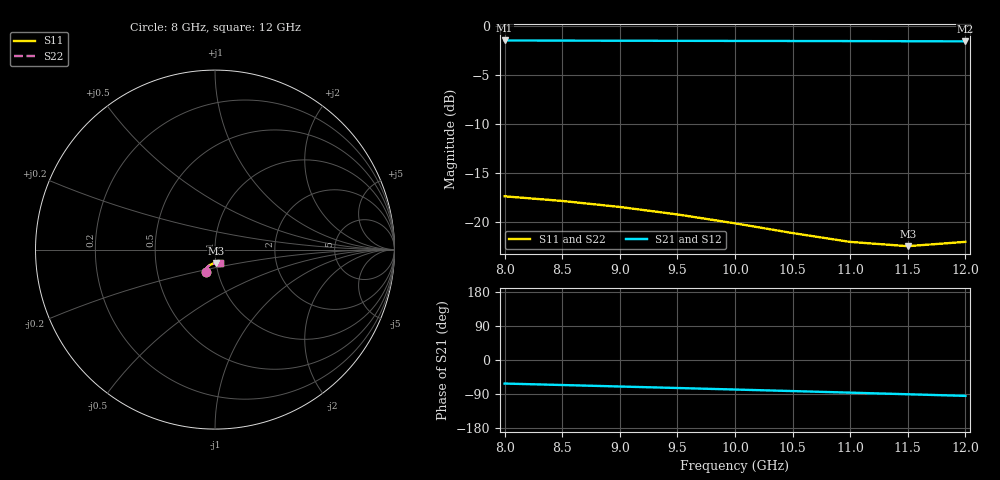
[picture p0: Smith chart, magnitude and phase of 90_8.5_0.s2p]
! Created Fri Oct 23 14:27:03 2020
# hz S ma R 50
! 2 Port Network Data from SP1.SP block
! freq  magS11  angS11  magS21  angS21  magS12  angS12  magS22  angS22
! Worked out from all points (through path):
!   9 points, 8 GHz to 12 GHz, reference 50 ohm
!   highest |S21| = -1.43 dB at 8 GHz (marker M1); lowest = -1.5 dB at 12 GHz (marker M2)
!   lowest |S11| = -22.4 dB at 11.5 GHz (marker M3), VSWR 1.16, Z = 50 - j7.59 ohm
!   |S11| at or under -10 dB: start of sweep to end of sweep
!   |S22| runs from -22.4 to -17.3 dB; largest |S21 - S12| = 0
8e9  0.1359 -111.4  0.8479 -62.1  0.8479 -62.1  0.1359 -111.4
8.5e9  0.1287 -113.4  0.8463 -66.0  0.8463 -66.0  0.1287 -113.4
9e9  0.1199 -114.5  0.8451 -69.9  0.8451 -69.9  0.12 -114.5
9.5e9  0.1098 -114.3  0.8441 -73.9  0.8441 -73.9  0.11 -114.2
1e10  0.09895 -112.1  0.8432 -77.9  0.8432 -77.9  0.09913 -112.1
1.05e10  0.08825 -107.2  0.8424 -82.0  0.8424 -82.0  0.08849 -107.1
1.1e10  0.07954 -98.4  0.8415 -86.2  0.8415 -86.2  0.07983 -98.4
1.15e10  0.07566 -85.6  0.8403 -90.4  0.8403 -90.4  0.07598 -85.7
1.2e10  0.07961 -70.9  0.8388 -94.7  0.8388 -94.7  0.07991 -71.1
